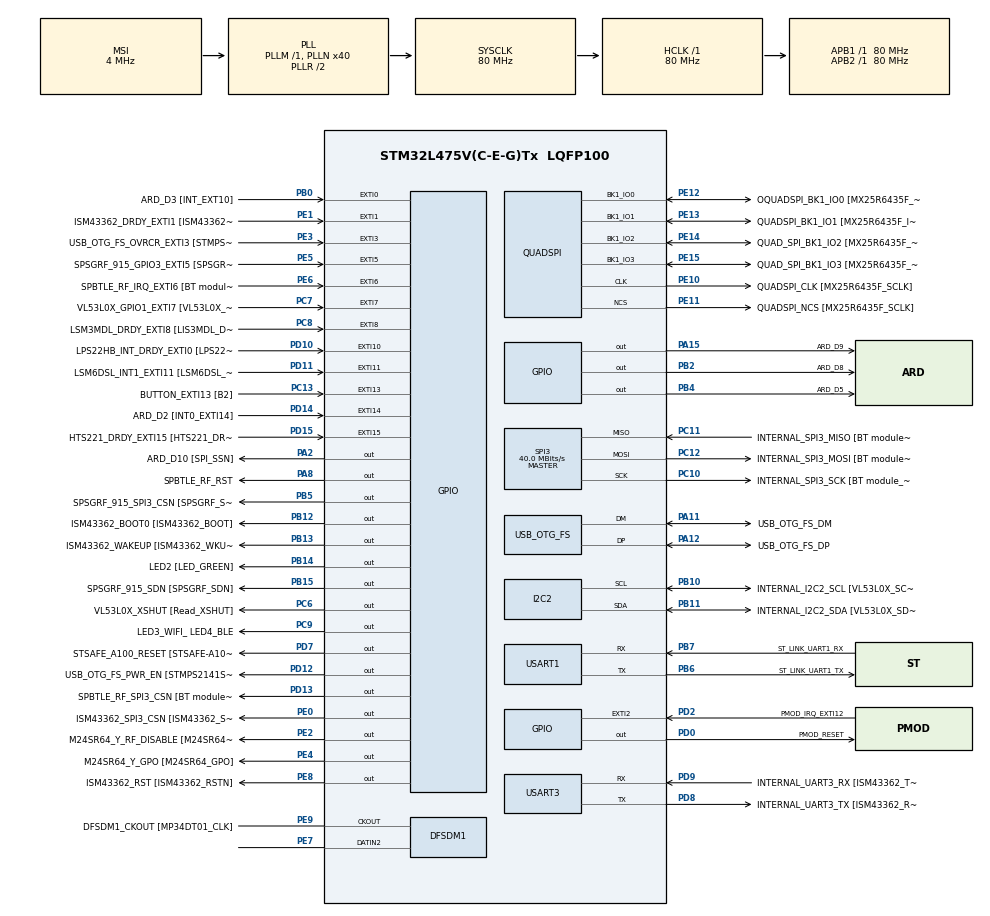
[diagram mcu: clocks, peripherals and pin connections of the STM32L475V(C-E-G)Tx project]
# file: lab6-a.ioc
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DFSDM1.Divider=40
DFSDM1.DmaMode_reg_FIL0=ENABLE
DFSDM1.FastMode_reg_FIL0=ENABLE
DFSDM1.Filter_regChannel_FIL0=DFSDM_CHANNEL_2
DFSDM1.Fosr_FIL0=250
DFSDM1.SincOrder_FIL0=DFSDM_FILTER_SINC3_ORDER
Dma.DFSDM1_FLT0.0.Direction=DMA_PERIPH_TO_MEMORY
Dma.DFSDM1_FLT0.0.Instance=DMA1_Channel4
Dma.DFSDM1_FLT0.0.MemDataAlignment=DMA_MDATAALIGN_WORD
Dma.DFSDM1_FLT0.0.MemInc=DMA_MINC_ENABLE
Dma.DFSDM1_FLT0.0.Mode=DMA_CIRCULAR
Dma.DFSDM1_FLT0.0.PeriphDataAlignment=DMA_PDATAALIGN_WORD
Dma.DFSDM1_FLT0.0.PeriphInc=DMA_PINC_DISABLE
Dma.DFSDM1_FLT0.0.Priority=DMA_PRIORITY_LOW
Dma.Request0=DFSDM1_FLT0
I2C2.Timing=0x10D19CE4
Mcu.Family=STM32L4
Mcu.Name=STM32L475V(C-E-G)Tx
Mcu.Package=LQFP100
NVIC.DMA1_Channel4_IRQn=true\:0\:0\:false\:false\:true\:false\:true\:true
NVIC.EXTI15_10_IRQn=true\:0\:0\:false\:false\:true\:true\:true\:true
NVIC.EXTI9_5_IRQn=true\:0\:0\:false\:false\:true\:true\:true\:true
NVIC.PriorityGroup=NVIC_PRIORITYGROUP_4
PA0.GPIO_Label=ARD_D1 [UART4_TX]
PA0.Signal=UART4_TX
PA1.GPIO_Label=ARD_D0 [UART4_RX]
PA1.Signal=UART4_RX
PA10.GPIO_Label=USB_OTG_FS_ID
PA10.Signal=USB_OTG_FS_ID
PA11.GPIO_Label=USB_OTG_FS_DM
PA11.Mode=Device_Only
PA11.Signal=USB_OTG_FS_DM
PA12.GPIO_Label=USB_OTG_FS_DP
PA12.Mode=Device_Only
PA12.Signal=USB_OTG_FS_DP
PA13\ (JTMS-SWDIO).GPIO_Label=SYS_JTMS_SWDIO
PA13\ (JTMS-SWDIO).Mode=Serial_Wire
PA13\ (JTMS-SWDIO).Signal=SYS_JTMS-SWDIO
PA14\ (JTCK-SWCLK).GPIO_Label=SYS_JTCK_SWCLK
PA14\ (JTCK-SWCLK).Mode=Serial_Wire
PA14\ (JTCK-SWCLK).Signal=SYS_JTCK-SWCLK
PA15\ (JTDI).GPIO_Label=ARD_D9
PA15\ (JTDI).Signal=GPIO_Output
PA2.GPIO_Label=ARD_D10 [SPI_SSN]
PA2.Signal=GPIO_Output
PA3.GPIO_Label=ARD_D4
PA3.Signal=S_TIM2_CH4
PA4.GPIO_Label=ARD_D7
PA4.Signal=ADCx_IN9
PA5.GPIO_Label=ARD_D13 [SPI1_SCK]
PA5.Signal=SPI1_SCK
PA6.GPIO_Label=ARD_D12 [SPI1_MISO]
PA6.Signal=SPI1_MISO
PA7.GPIO_Label=ARD_D11 [SPI1_MOSI]
PA7.Signal=SPI1_MOSI
PA8.GPIO_Label=SPBTLE_RF_RST
PA8.Signal=GPIO_Output
PA9.GPIO_Label=USB_OTG_FS_VBUS [STMPS2141STR_OUT]
PA9.Signal=USB_OTG_FS_VBUS
PB0.GPIO_Label=ARD_D3 [INT_EXT10]
PB0.Signal=GPXTI0
PB1.GPIO_Label=ARD_D6 [ADC1_IN6]
PB1.Signal=ADCx_IN16
PB10.GPIO_Label=INTERNAL_I2C2_SCL [VL53L0X_SCL]
PB10.GPIO_Pu=GPIO_PULLUP
PB10.Mode=I2C
PB10.Signal=I2C2_SCL
PB11.GPIO_Label=INTERNAL_I2C2_SDA [VL53L0X_SDA]
PB11.GPIO_Pu=GPIO_PULLUP
PB11.Mode=I2C
PB11.Signal=I2C2_SDA
PB12.GPIO_Label=ISM43362_BOOT0 [ISM43362_BOOT]
PB12.Signal=GPIO_Output
PB13.GPIO_Label=ISM43362_WAKEUP [ISM43362_WKUP]
PB13.Signal=GPIO_Output
PB14.GPIO_Label=LED2 [LED_GREEN]
PB14.Signal=GPIO_Output
PB15.GPIO_Label=SPSGRF_915_SDN [SPSGRF_SDN]
PB15.Signal=GPIO_Output
PB2.GPIO_Label=ARD_D8
PB2.Signal=GPIO_Output
PB3\ (JTDO-TRACESWO).GPIO_Label=SYS_JTD0_SWO
PB3\ (JTDO-TRACESWO).Signal=SYS_JTDO-SWO
PB4\ (NJTRST).GPIO_Label=ARD_D5
PB4\ (NJTRST).Signal=GPIO_Output
PB5.GPIO_Label=SPSGRF_915_SPI3_CSN [SPSGRF_SPI_CS]
PB5.PinState=GPIO_PIN_SET
PB5.Signal=GPIO_Output
PB6.GPIO_Label=ST_LINK_UART1_TX
PB6.Mode=Asynchronous
PB6.Signal=USART1_TX
PB7.GPIO_Label=ST_LINK_UART1_RX
PB7.Mode=Asynchronous
PB7.Signal=USART1_RX
PB8.GPIO_Label=ARD_D15 [I2C1_SCL]
PB8.Signal=I2C1_SCL
PB9.GPIO_Label=ARD_D14 [I2C1_SDA]
PB9.Signal=I2C1_SDA
PC0.GPIO_Label=ARD_A5 [ADC]
PC0.Signal=ADCx_IN1
PC1.GPIO_Label=ARD_A4 [ADC]
PC1.Signal=ADCx_IN2
PC10.GPIO_Label=INTERNAL_SPI3_SCK [BT module_SPI_SCLK] [ISM43362_SCK]
PC10.Mode=Full_Duplex_Master
PC10.Signal=SPI3_SCK
PC11.GPIO_Label=INTERNAL_SPI3_MISO [BT module_SPI_MISO] [ISM43362_MISO]
PC11.Mode=Full_Duplex_Master
PC11.Signal=SPI3_MISO
PC12.GPIO_Label=INTERNAL_SPI3_MOSI [BT module_SPI_MOSI] [ISM43362_MOSI]
PC12.Mode=Full_Duplex_Master
PC12.Signal=SPI3_MOSI
PC13.GPIO_Label=BUTTON_EXTI13 [B2]
PC13.GPIO_ModeDefaultEXTI=GPIO_MODE_IT_FALLING
PC13.Signal=GPXTI13
PC14-OSC32_IN\ (PC14).Mode=LSE-External-Oscillator
PC14-OSC32_IN\ (PC14).Signal=RCC_OSC32_IN
PC15-OSC32_OUT\ (PC15).Mode=LSE-External-Oscillator
PC15-OSC32_OUT\ (PC15).Signal=RCC_OSC32_OUT
PC2.GPIO_Label=ARD_A3 [ADC]
PC2.Signal=ADCx_IN3
PC3.GPIO_Label=ARD_A2 [ADC]
PC3.Signal=ADCx_IN4
PC4.GPIO_Label=ARD_A1 [ADC]
PC4.Signal=ADCx_IN13
PC5.GPIO_Label=ARD_A0 [ADC]
PC5.Signal=ADCx_IN14
PC6.GPIO_Label=VL53L0X_XSHUT [Read_XSHUT]
PC6.Signal=GPIO_Output
PC7.GPIO_Label=VL53L0X_GPIO1_EXTI7 [VL53L0X_GPIO1]
PC7.Signal=GPXTI7
PC8.GPIO_Label=LSM3MDL_DRDY_EXTI8 [LIS3MDL_DRDY]
PC8.Signal=GPXTI8
PC9.GPIO_Label=LED3_WIFI_ LED4_BLE
PC9.Signal=GPIO_Output
PD0.GPIO_Label=PMOD_RESET
PD0.Signal=GPIO_Output
PD1.GPIO_Label=PMOD_SPI2_SCK
PD1.Signal=SPI2_SCK
PD10.GPIO_Label=LPS22HB_INT_DRDY_EXTI0 [LPS22HB_INT_DRDY] 
PD10.Signal=GPXTI10
PD11.GPIO_Label=LSM6DSL_INT1_EXTI11 [LSM6DSL_INT1]
PD11.Signal=GPXTI11
PD12.GPIO_Label=USB_OTG_FS_PWR_EN [STMPS2141STR_EN]
PD12.Signal=GPIO_Output
PD13.GPIO_Label=SPBTLE_RF_SPI3_CSN [BT module_SPI_CS]
PD13.PinState=GPIO_PIN_SET
PD13.Signal=GPIO_Output
PD14.GPIO_Label=ARD_D2 [INT0_EXTI14]
PD14.Signal=GPXTI14
PD15.GPIO_Label=HTS221_DRDY_EXTI15 [HTS221_DRDY]
PD15.Signal=GPXTI15
PD2.GPIO_Label=PMOD_IRQ_EXTI12
PD2.Signal=GPXTI2
PD3.GPIO_Label=PMOD_UART2_CTS
PD3.Signal=USART2_CTS
PD4.GPIO_Label=PMOD_UART2_RTS
PD4.Signal=USART2_RTS
PD5.GPIO_Label=PMOD_UART2_TX
PD5.Signal=USART2_TX
PD6.GPIO_Label=PMOD_UART2_RX
PD6.Signal=USART2_RX
PD7.GPIO_Label=STSAFE_A100_RESET [STSAFE-A100_RESET]
PD7.Signal=GPIO_Output
PD8.GPIO_Label=INTERNAL_UART3_TX [ISM43362_RX]
PD8.Mode=Asynchronous
PD8.Signal=USART3_TX
PD9.GPIO_Label=INTERNAL_UART3_RX [ISM43362_TX]
PD9.Mode=Asynchronous
PD9.Signal=USART3_RX
PE0.GPIO_Label=ISM43362_SPI3_CSN [ISM43362_SSN]
PE0.PinState=GPIO_PIN_SET
PE0.Signal=GPIO_Output
PE1.GPIO_Label=ISM43362_DRDY_EXTI1 [ISM43362_DATARDY]
PE1.Signal=GPXTI1
PE10.GPIO_Label=QUADSPI_CLK [MX25R6435F_SCLK]
PE10.Mode=Single Bank
PE10.Signal=QUADSPI_CLK
PE11.GPIO_Label=QUADSPI_NCS [MX25R6435F_SCLK]
PE11.Mode=Single Bank
PE11.Signal=QUADSPI_NCS
PE12.GPIO_Label=OQUADSPI_BK1_IO0 [MX25R6435F_IO0]
PE12.Mode=Single Bank
PE12.Signal=QUADSPI_BK1_IO0
PE13.GPIO_Label=QUADSPI_BK1_IO1 [MX25R6435F_IO1]
PE13.Mode=Single Bank
PE13.Signal=QUADSPI_BK1_IO1
PE14.GPIO_Label=QUAD_SPI_BK1_IO2 [MX25R6435F_IO2]
PE14.Mode=Single Bank
PE14.Signal=QUADSPI_BK1_IO2
PE15.GPIO_Label=QUAD_SPI_BK1_IO3 [MX25R6435F_IO3]
PE15.Mode=Single Bank
PE15.Signal=QUADSPI_BK1_IO3
PE2.GPIO_Label=M24SR64_Y_RF_DISABLE [M24SR64_RFDIS]
PE2.Signal=GPIO_Output
PE3.GPIO_Label=USB_OTG_FS_OVRCR_EXTI3 [STMPS2141STR_FAULT]
PE3.Signal=GPXTI3
PE4.GPIO_Label=M24SR64_Y_GPO [M24SR64_GPO]
PE4.Signal=GPIO_Output
PE5.GPIO_Label=SPSGRF_915_GPIO3_EXTI5 [SPSGRF_GPIO_3]
PE5.Signal=GPXTI5
PE6.GPIO_Label=SPBTLE_RF_IRQ_EXTI6 [BT module_SPI_IRQ]
PE6.Signal=GPXTI6
PE7.Signal=S_DATAIN2DFSDM1
PE8.GPIO_Label=ISM43362_RST [ISM43362_RSTN]
PE8.Signal=GPIO_Output
PE9.GPIO_Label=DFSDM1_CKOUT [MP34DT01_CLK]
PE9.Signal=S_CKOUTDFSDM1
ProjectManager.HeapSize=0x200
ProjectManager.StackSize=0x400
ProjectManager.TargetToolchain=STM32CubeIDE
QUADSPI.ClockPrescaler=2
QUADSPI.FifoThreshold=4
QUADSPI.FlashSize=23
QUADSPI.SampleShifting=QSPI_SAMPLE_SHIFTING_HALFCYCLE
RCC.ADCFreq_Value=48000000
RCC.AHBFreq_Value=80000000
RCC.APB1Freq_Value=80000000
RCC.APB1TimFreq_Value=80000000
RCC.APB2Freq_Value=80000000
RCC.APB2TimFreq_Value=80000000
RCC.CortexFreq_Value=80000000
RCC.HCLKFreq_Value=80000000
RCC.HSE_VALUE=8000000
RCC.HSI_VALUE=16000000
RCC.MSI_VALUE=4000000
RCC.PLLN=40
RCC.PLLSAI1N=24
RCC.SYSCLKFreq_VALUE=80000000
RCC.SYSCLKSource=RCC_SYSCLKSOURCE_PLLCLK
RCC.USBFreq_Value=48000000
RCC.VCOOutputFreq_Value=160000000
SH.ADCx_IN1.0=ADC1_IN1
SH.ADCx_IN13.0=ADC1_IN13
SH.ADCx_IN14.0=ADC1_IN14
SH.ADCx_IN16.0=ADC1_IN16
SH.ADCx_IN2.0=ADC1_IN2
SH.ADCx_IN3.0=ADC1_IN3
SH.ADCx_IN4.0=ADC1_IN4
SH.ADCx_IN9.0=ADC1_IN9
SH.S_CKOUTDFSDM1.0=DFSDM1_CKOUT,PDM_SPI_input_from_ch2_and_internal_clock
SH.S_DATAIN2DFSDM1.0=DFSDM1_DATIN2,PDM_SPI_input_from_ch2_and_internal_clock
SH.S_TIM2_CH4.0=TIM2_CH4
SPI3.CalculateBaudRate=40.0 MBits/s
SPI3.Direction=SPI_DIRECTION_2LINES
SPI3.Mode=SPI_MODE_MASTER
SPI3.VirtualType=VM_MASTER
USART1.VirtualMode-Asynchronous=VM_ASYNC
USART3.VirtualMode-Asynchronous=VM_ASYNC
USB_OTG_FS.VirtualMode=Device_Only
board=B-L475E-IOT01A1

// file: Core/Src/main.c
/* USER CODE BEGIN Header */
/**
  ******************************************************************************
  * @file           : main.c
  * @brief          : Main program body
  ******************************************************************************
  * @attention
  *
  * Copyright (c) 2025 STMicroelectronics.
  * All rights reserved.
  *
  * This software is licensed under terms that can be found in the LICENSE file
  * in the root directory of this software component.
  * If no LICENSE file comes with this software, it is provided AS-IS.
  *
  ******************************************************************************
  */
/* USER CODE END Header */
#include "main.h"

/* USER CODE BEGIN Includes */
#include "stdio.h"
/* USER CODE END Includes */

DFSDM_Filter_HandleTypeDef hdfsdm1_filter0;
DFSDM_Channel_HandleTypeDef hdfsdm1_channel2;
DMA_HandleTypeDef hdma_dfsdm1_flt0;

I2C_HandleTypeDef hi2c2;

QSPI_HandleTypeDef hqspi;

SPI_HandleTypeDef hspi3;

UART_HandleTypeDef huart1;
UART_HandleTypeDef huart3;

PCD_HandleTypeDef hpcd_USB_OTG_FS;

/* USER CODE BEGIN PV */
#define AUDIO_REC	1024
int32_t RecBuf[AUDIO_REC];
int32_t PlayBuf[AUDIO_REC];

uint8_t DmaRecHalfBuffCplt = 0;
uint8_t DmaRecBuffCplt = 0;
/* USER CODE END PV */

void SystemClock_Config(void);
static void MX_GPIO_Init(void);
static void MX_DMA_Init(void);
static void MX_DFSDM1_Init(void);
static void MX_I2C2_Init(void);
static void MX_QUADSPI_Init(void);
static void MX_SPI3_Init(void);
static void MX_USART1_UART_Init(void);
static void MX_USART3_UART_Init(void);
static void MX_USB_OTG_FS_PCD_Init(void);
/* USER CODE BEGIN PFP */
int __io_putchar(int ch)
{
	HAL_UART_Transmit(&huart1, (uint8_t *) &ch, 1, 0xffff);
	return ch;
}
/* USER CODE END PFP */

int main(void)
{

  /* USER CODE BEGIN 1 */
	uint16_t i = 0;
  /* USER CODE END 1 */

  /* MCU Configuration--------------------------------------------------------*/

  /* Reset of all peripherals, Initializes the Flash interface and the Systick. */
  HAL_Init();

  /* Configure the system clock */
  SystemClock_Config();

  /* Initialize all configured peripherals */
  MX_GPIO_Init();
  MX_DMA_Init();
  MX_DFSDM1_Init();
  MX_I2C2_Init();
  MX_QUADSPI_Init();
  MX_SPI3_Init();
  MX_USART1_UART_Init();
  MX_USART3_UART_Init();
  MX_USB_OTG_FS_PCD_Init();
  /* USER CODE BEGIN 2 */
  HAL_DFSDM_FilterRegularStart_DMA(&hdfsdm1_filter0, RecBuf, AUDIO_REC);
  /* USER CODE END 2 */

  /* Infinite loop */
  while (1)
  {

    /* USER CODE BEGIN 3 */
	  if (DmaRecHalfBuffCplt == 1)
	  {
		  for (i = 0; i < AUDIO_REC / 2; ++i)
			  PlayBuf[i] = RecBuf[i] >> 8;
		  DmaRecHalfBuffCplt = 0;
		  printf("1: %ld\n", RecBuf[0]);
		  HAL_GPIO_TogglePin(ARD_D13_GPIO_Port, ARD_D13_Pin);
		  HAL_Delay(10);
		  HAL_GPIO_TogglePin(ARD_D13_GPIO_Port, ARD_D13_Pin);
	  }
	  if (DmaRecBuffCplt == 1)
	  {
		  for (i = AUDIO_REC / 2; i < AUDIO_REC; ++i)
			  PlayBuf[i] = RecBuf[i] >> 8;
		  DmaRecBuffCplt = 0;
		  printf("2: %ld\n", RecBuf[AUDIO_REC / 2]);
		  HAL_GPIO_TogglePin(ARD_D7_GPIO_Port, ARD_D7_Pin);
		  HAL_Delay(10);
		  HAL_GPIO_TogglePin(ARD_D7_GPIO_Port, ARD_D7_Pin);
	  }
  }
  /* USER CODE END 3 */
}

void SystemClock_Config(void)
{
  RCC_OscInitTypeDef RCC_OscInitStruct = {0};
  RCC_ClkInitTypeDef RCC_ClkInitStruct = {0};

  /** Configure the main internal regulator output voltage
  */
  if (HAL_PWREx_ControlVoltageScaling(PWR_REGULATOR_VOLTAGE_SCALE1) != HAL_OK)
  {
    Error_Handler();
  }

  /** Configure LSE Drive Capability
  */
  HAL_PWR_EnableBkUpAccess();
  __HAL_RCC_LSEDRIVE_CONFIG(RCC_LSEDRIVE_LOW);

  /** Initializes the RCC Oscillators according to the specified parameters
  * in the RCC_OscInitTypeDef structure.
  */
  RCC_OscInitStruct.OscillatorType = RCC_OSCILLATORTYPE_LSE|RCC_OSCILLATORTYPE_MSI;
  RCC_OscInitStruct.LSEState = RCC_LSE_ON;
  RCC_OscInitStruct.MSIState = RCC_MSI_ON;
  RCC_OscInitStruct.MSICalibrationValue = 0;
  RCC_OscInitStruct.MSIClockRange = RCC_MSIRANGE_6;
  RCC_OscInitStruct.PLL.PLLState = RCC_PLL_ON;
  RCC_OscInitStruct.PLL.PLLSource = RCC_PLLSOURCE_MSI;
  RCC_OscInitStruct.PLL.PLLM = 1;
  RCC_OscInitStruct.PLL.PLLN = 40;
  RCC_OscInitStruct.PLL.PLLP = RCC_PLLP_DIV7;
  RCC_OscInitStruct.PLL.PLLQ = RCC_PLLQ_DIV2;
  RCC_OscInitStruct.PLL.PLLR = RCC_PLLR_DIV2;
  if (HAL_RCC_OscConfig(&RCC_OscInitStruct) != HAL_OK)
  {
    Error_Handler();
  }

  /** Initializes the CPU, AHB and APB buses clocks
  */
  RCC_ClkInitStruct.ClockType = RCC_CLOCKTYPE_HCLK|RCC_CLOCKTYPE_SYSCLK
                              |RCC_CLOCKTYPE_PCLK1|RCC_CLOCKTYPE_PCLK2;
  RCC_ClkInitStruct.SYSCLKSource = RCC_SYSCLKSOURCE_PLLCLK;
  RCC_ClkInitStruct.AHBCLKDivider = RCC_SYSCLK_DIV1;
  RCC_ClkInitStruct.APB1CLKDivider = RCC_HCLK_DIV1;
  RCC_ClkInitStruct.APB2CLKDivider = RCC_HCLK_DIV1;

  if (HAL_RCC_ClockConfig(&RCC_ClkInitStruct, FLASH_LATENCY_4) != HAL_OK)
  {
    Error_Handler();
  }

  /** Enable MSI Auto calibration
  */
  HAL_RCCEx_EnableMSIPLLMode();
}

static void MX_DFSDM1_Init(void)
{

  hdfsdm1_filter0.Instance = DFSDM1_Filter0;
  hdfsdm1_filter0.Init.RegularParam.Trigger = DFSDM_FILTER_SW_TRIGGER;
  hdfsdm1_filter0.Init.RegularParam.FastMode = ENABLE;
  hdfsdm1_filter0.Init.RegularParam.DmaMode = ENABLE;
  hdfsdm1_filter0.Init.FilterParam.SincOrder = DFSDM_FILTER_SINC3_ORDER;
  hdfsdm1_filter0.Init.FilterParam.Oversampling = 250;
  hdfsdm1_filter0.Init.FilterParam.IntOversampling = 1;
  if (HAL_DFSDM_FilterInit(&hdfsdm1_filter0) != HAL_OK)
  {
    Error_Handler();
  }
  hdfsdm1_channel2.Instance = DFSDM1_Channel2;
  hdfsdm1_channel2.Init.OutputClock.Activation = ENABLE;
  hdfsdm1_channel2.Init.OutputClock.Selection = DFSDM_CHANNEL_OUTPUT_CLOCK_SYSTEM;
  hdfsdm1_channel2.Init.OutputClock.Divider = 40;
  hdfsdm1_channel2.Init.Input.Multiplexer = DFSDM_CHANNEL_EXTERNAL_INPUTS;
  hdfsdm1_channel2.Init.Input.DataPacking = DFSDM_CHANNEL_STANDARD_MODE;
  hdfsdm1_channel2.Init.Input.Pins = DFSDM_CHANNEL_SAME_CHANNEL_PINS;
  hdfsdm1_channel2.Init.SerialInterface.Type = DFSDM_CHANNEL_SPI_RISING;
  hdfsdm1_channel2.Init.SerialInterface.SpiClock = DFSDM_CHANNEL_SPI_CLOCK_INTERNAL;
  hdfsdm1_channel2.Init.Awd.FilterOrder = DFSDM_CHANNEL_FASTSINC_ORDER;
  hdfsdm1_channel2.Init.Awd.Oversampling = 1;
  hdfsdm1_channel2.Init.Offset = 0;
  hdfsdm1_channel2.Init.RightBitShift = 0x00;
  if (HAL_DFSDM_ChannelInit(&hdfsdm1_channel2) != HAL_OK)
  {
    Error_Handler();
  }
  if (HAL_DFSDM_FilterConfigRegChannel(&hdfsdm1_filter0, DFSDM_CHANNEL_2, DFSDM_CONTINUOUS_CONV_ON) != HAL_OK)
  {
    Error_Handler();
  }

}

static void MX_I2C2_Init(void)
{

  hi2c2.Instance = I2C2;
  hi2c2.Init.Timing = 0x10D19CE4;
  hi2c2.Init.OwnAddress1 = 0;
  hi2c2.Init.AddressingMode = I2C_ADDRESSINGMODE_7BIT;
  hi2c2.Init.DualAddressMode = I2C_DUALADDRESS_DISABLE;
  hi2c2.Init.OwnAddress2 = 0;
  hi2c2.Init.OwnAddress2Masks = I2C_OA2_NOMASK;
  hi2c2.Init.GeneralCallMode = I2C_GENERALCALL_DISABLE;
  hi2c2.Init.NoStretchMode = I2C_NOSTRETCH_DISABLE;
  if (HAL_I2C_Init(&hi2c2) != HAL_OK)
  {
    Error_Handler();
  }

  /** Configure Analogue filter
  */
  if (HAL_I2CEx_ConfigAnalogFilter(&hi2c2, I2C_ANALOGFILTER_ENABLE) != HAL_OK)
  {
    Error_Handler();
  }

  /** Configure Digital filter
  */
  if (HAL_I2CEx_ConfigDigitalFilter(&hi2c2, 0) != HAL_OK)
  {
    Error_Handler();
  }

}

static void MX_QUADSPI_Init(void)
{

  /* QUADSPI parameter configuration*/
  hqspi.Instance = QUADSPI;
  hqspi.Init.ClockPrescaler = 2;
  hqspi.Init.FifoThreshold = 4;
  hqspi.Init.SampleShifting = QSPI_SAMPLE_SHIFTING_HALFCYCLE;
  hqspi.Init.FlashSize = 23;
  hqspi.Init.ChipSelectHighTime = QSPI_CS_HIGH_TIME_1_CYCLE;
  hqspi.Init.ClockMode = QSPI_CLOCK_MODE_0;
  if (HAL_QSPI_Init(&hqspi) != HAL_OK)
  {
    Error_Handler();
  }

}

static void MX_SPI3_Init(void)
{

  /* SPI3 parameter configuration*/
  hspi3.Instance = SPI3;
  hspi3.Init.Mode = SPI_MODE_MASTER;
  hspi3.Init.Direction = SPI_DIRECTION_2LINES;
  hspi3.Init.DataSize = SPI_DATASIZE_4BIT;
  hspi3.Init.CLKPolarity = SPI_POLARITY_LOW;
  hspi3.Init.CLKPhase = SPI_PHASE_1EDGE;
  hspi3.Init.NSS = SPI_NSS_SOFT;
  hspi3.Init.BaudRatePrescaler = SPI_BAUDRATEPRESCALER_2;
  hspi3.Init.FirstBit = SPI_FIRSTBIT_MSB;
  hspi3.Init.TIMode = SPI_TIMODE_DISABLE;
  hspi3.Init.CRCCalculation = SPI_CRCCALCULATION_DISABLE;
  hspi3.Init.CRCPolynomial = 7;
  hspi3.Init.CRCLength = SPI_CRC_LENGTH_DATASIZE;
  hspi3.Init.NSSPMode = SPI_NSS_PULSE_ENABLE;
  if (HAL_SPI_Init(&hspi3) != HAL_OK)
  {
    Error_Handler();
  }

}

static void MX_USART1_UART_Init(void)
{

  huart1.Instance = USART1;
  huart1.Init.BaudRate = 115200;
  huart1.Init.WordLength = UART_WORDLENGTH_8B;
  huart1.Init.StopBits = UART_STOPBITS_1;
  huart1.Init.Parity = UART_PARITY_NONE;
  huart1.Init.Mode = UART_MODE_TX_RX;
  huart1.Init.HwFlowCtl = UART_HWCONTROL_NONE;
  huart1.Init.OverSampling = UART_OVERSAMPLING_16;
  huart1.Init.OneBitSampling = UART_ONE_BIT_SAMPLE_DISABLE;
  huart1.AdvancedInit.AdvFeatureInit = UART_ADVFEATURE_NO_INIT;
  if (HAL_UART_Init(&huart1) != HAL_OK)
  {
    Error_Handler();
  }

}

static void MX_USART3_UART_Init(void)
{

  huart3.Instance = USART3;
  huart3.Init.BaudRate = 115200;
  huart3.Init.WordLength = UART_WORDLENGTH_8B;
  huart3.Init.StopBits = UART_STOPBITS_1;
  huart3.Init.Parity = UART_PARITY_NONE;
  huart3.Init.Mode = UART_MODE_TX_RX;
  huart3.Init.HwFlowCtl = UART_HWCONTROL_NONE;
  huart3.Init.OverSampling = UART_OVERSAMPLING_16;
  huart3.Init.OneBitSampling = UART_ONE_BIT_SAMPLE_DISABLE;
  huart3.AdvancedInit.AdvFeatureInit = UART_ADVFEATURE_NO_INIT;
  if (HAL_UART_Init(&huart3) != HAL_OK)
  {
    Error_Handler();
  }

}

static void MX_USB_OTG_FS_PCD_Init(void)
{

  hpcd_USB_OTG_FS.Instance = USB_OTG_FS;
  hpcd_USB_OTG_FS.Init.dev_endpoints = 6;
  hpcd_USB_OTG_FS.Init.speed = PCD_SPEED_FULL;
  hpcd_USB_OTG_FS.Init.phy_itface = PCD_PHY_EMBEDDED;
  hpcd_USB_OTG_FS.Init.Sof_enable = DISABLE;
  hpcd_USB_OTG_FS.Init.low_power_enable = DISABLE;
  hpcd_USB_OTG_FS.Init.lpm_enable = DISABLE;
  hpcd_USB_OTG_FS.Init.battery_charging_enable = DISABLE;
  hpcd_USB_OTG_FS.Init.use_dedicated_ep1 = DISABLE;
  hpcd_USB_OTG_FS.Init.vbus_sensing_enable = DISABLE;
  if (HAL_PCD_Init(&hpcd_USB_OTG_FS) != HAL_OK)
  {
    Error_Handler();
  }

}

static void MX_DMA_Init(void)
{

  /* DMA controller clock enable */
  __HAL_RCC_DMA1_CLK_ENABLE();

  /* DMA interrupt init */
  /* DMA1_Channel4_IRQn interrupt configuration */
  HAL_NVIC_SetPriority(DMA1_Channel4_IRQn, 0, 0);
  HAL_NVIC_EnableIRQ(DMA1_Channel4_IRQn);

}

static void MX_GPIO_Init(void)
{
  GPIO_InitTypeDef GPIO_InitStruct = {0};

  /* GPIO Ports Clock Enable */
  __HAL_RCC_GPIOE_CLK_ENABLE();
  __HAL_RCC_GPIOC_CLK_ENABLE();
  __HAL_RCC_GPIOA_CLK_ENABLE();
  __HAL_RCC_GPIOB_CLK_ENABLE();
  __HAL_RCC_GPIOD_CLK_ENABLE();

  /*Configure GPIO pin Output Level */
  HAL_GPIO_WritePin(GPIOE, M24SR64_Y_RF_DISABLE_Pin|M24SR64_Y_GPO_Pin|ISM43362_RST_Pin, GPIO_PIN_RESET);

  /*Configure GPIO pin Output Level */
  HAL_GPIO_WritePin(GPIOA, ARD_D10_Pin|SPBTLE_RF_RST_Pin|ARD_D9_Pin, GPIO_PIN_RESET);

  /*Configure GPIO pin Output Level */
  HAL_GPIO_WritePin(GPIOB, ARD_D8_Pin|ISM43362_BOOT0_Pin|ISM43362_WAKEUP_Pin|LED2_Pin
                          |SPSGRF_915_SDN_Pin|ARD_D5_Pin, GPIO_PIN_RESET);

  /*Configure GPIO pin Output Level */
  HAL_GPIO_WritePin(GPIOD, USB_OTG_FS_PWR_EN_Pin|PMOD_RESET_Pin|STSAFE_A100_RESET_Pin, GPIO_PIN_RESET);

  /*Configure GPIO pin Output Level */
  HAL_GPIO_WritePin(SPBTLE_RF_SPI3_CSN_GPIO_Port, SPBTLE_RF_SPI3_CSN_Pin, GPIO_PIN_SET);

  /*Configure GPIO pin Output Level */
  HAL_GPIO_WritePin(GPIOC, VL53L0X_XSHUT_Pin|LED3_WIFI__LED4_BLE_Pin, GPIO_PIN_RESET);

  /*Configure GPIO pin Output Level */
  HAL_GPIO_WritePin(SPSGRF_915_SPI3_CSN_GPIO_Port, SPSGRF_915_SPI3_CSN_Pin, GPIO_PIN_SET);

  /*Configure GPIO pin Output Level */
  HAL_GPIO_WritePin(ISM43362_SPI3_CSN_GPIO_Port, ISM43362_SPI3_CSN_Pin, GPIO_PIN_SET);

  /*Configure GPIO pins : M24SR64_Y_RF_DISABLE_Pin M24SR64_Y_GPO_Pin ISM43362_RST_Pin ISM43362_SPI3_CSN_Pin */
  GPIO_InitStruct.Pin = M24SR64_Y_RF_DISABLE_Pin|M24SR64_Y_GPO_Pin|ISM43362_RST_Pin|ISM43362_SPI3_CSN_Pin;
  GPIO_InitStruct.Mode = GPIO_MODE_OUTPUT_PP;
  GPIO_InitStruct.Pull = GPIO_NOPULL;
  GPIO_InitStruct.Speed = GPIO_SPEED_FREQ_LOW;
  HAL_GPIO_Init(GPIOE, &GPIO_InitStruct);

  /*Configure GPIO pins : USB_OTG_FS_OVRCR_EXTI3_Pin SPSGRF_915_GPIO3_EXTI5_Pin SPBTLE_RF_IRQ_EXTI6_Pin ISM43362_DRDY_EXTI1_Pin */
  GPIO_InitStruct.Pin = USB_OTG_FS_OVRCR_EXTI3_Pin|SPSGRF_915_GPIO3_EXTI5_Pin|SPBTLE_RF_IRQ_EXTI6_Pin|ISM43362_DRDY_EXTI1_Pin;
  GPIO_InitStruct.Mode = GPIO_MODE_IT_RISING;
  GPIO_InitStruct.Pull = GPIO_NOPULL;
  HAL_GPIO_Init(GPIOE, &GPIO_InitStruct);

  /*Configure GPIO pin : BUTTON_EXTI13_Pin */
  GPIO_InitStruct.Pin = BUTTON_EXTI13_Pin;
  GPIO_InitStruct.Mode = GPIO_MODE_IT_FALLING;
  GPIO_InitStruct.Pull = GPIO_NOPULL;
  HAL_GPIO_Init(BUTTON_EXTI13_GPIO_Port, &GPIO_InitStruct);

  /*Configure GPIO pins : ARD_A5_Pin ARD_A4_Pin ARD_A3_Pin ARD_A2_Pin
                           ARD_A1_Pin ARD_A0_Pin */
  GPIO_InitStruct.Pin = ARD_A5_Pin|ARD_A4_Pin|ARD_A3_Pin|ARD_A2_Pin
                          |ARD_A1_Pin|ARD_A0_Pin;
  GPIO_InitStruct.Mode = GPIO_MODE_ANALOG_ADC_CONTROL;
  GPIO_InitStruct.Pull = GPIO_NOPULL;
  HAL_GPIO_Init(GPIOC, &GPIO_InitStruct);

  /*Configure GPIO pins : ARD_D1_Pin ARD_D0_Pin */
  GPIO_InitStruct.Pin = ARD_D1_Pin|ARD_D0_Pin;
  GPIO_InitStruct.Mode = GPIO_MODE_AF_PP;
  GPIO_InitStruct.Pull = GPIO_NOPULL;
  GPIO_InitStruct.Speed = GPIO_SPEED_FREQ_VERY_HIGH;
  GPIO_InitStruct.Alternate = GPIO_AF8_UART4;
  HAL_GPIO_Init(GPIOA, &GPIO_InitStruct);

  /*Configure GPIO pins : ARD_D10_Pin SPBTLE_RF_RST_Pin ARD_D9_Pin */
  GPIO_InitStruct.Pin = ARD_D10_Pin|SPBTLE_RF_RST_Pin|ARD_D9_Pin;
  GPIO_InitStruct.Mode = GPIO_MODE_OUTPUT_PP;
  GPIO_InitStruct.Pull = GPIO_NOPULL;
  GPIO_InitStruct.Speed = GPIO_SPEED_FREQ_LOW;
  HAL_GPIO_Init(GPIOA, &GPIO_InitStruct);

  /*Configure GPIO pin : ARD_D4_Pin */
  GPIO_InitStruct.Pin = ARD_D4_Pin;
  GPIO_InitStruct.Mode = GPIO_MODE_AF_PP;
  GPIO_InitStruct.Pull = GPIO_NOPULL;
  GPIO_InitStruct.Speed = GPIO_SPEED_FREQ_LOW;
  GPIO_InitStruct.Alternate = GPIO_AF1_TIM2;
  HAL_GPIO_Init(ARD_D4_GPIO_Port, &GPIO_InitStruct);

  /*Configure GPIO pin : ARD_D7_Pin */
  GPIO_InitStruct.Pin = ARD_D7_Pin;
  GPIO_InitStruct.Mode = GPIO_MODE_OUTPUT_PP;
  GPIO_InitStruct.Pull = GPIO_NOPULL;
  GPIO_InitStruct.Speed = GPIO_SPEED_FREQ_LOW;
  HAL_GPIO_Init(ARD_D7_GPIO_Port, &GPIO_InitStruct);

  /*Configure GPIO pins : ARD_D12_Pin ARD_D11_Pin */
  GPIO_InitStruct.Pin = ARD_D12_Pin|ARD_D11_Pin;
  GPIO_InitStruct.Mode = GPIO_MODE_AF_PP;
  GPIO_InitStruct.Pull = GPIO_NOPULL;
  GPIO_InitStruct.Speed = GPIO_SPEED_FREQ_VERY_HIGH;
  GPIO_InitStruct.Alternate = GPIO_AF5_SPI1;
  HAL_GPIO_Init(GPIOA, &GPIO_InitStruct);

  /*Configure GPIO pin : ARD_D13_Pin */
  GPIO_InitStruct.Pin = ARD_D13_Pin;
  GPIO_InitStruct.Mode = GPIO_MODE_OUTPUT_PP;
  GPIO_InitStruct.Pull = GPIO_NOPULL;
  GPIO_InitStruct.Speed = GPIO_SPEED_FREQ_LOW;
  HAL_GPIO_Init(ARD_D13_GPIO_Port, &GPIO_InitStruct);

  /*Configure GPIO pin : ARD_D3_Pin */
  GPIO_InitStruct.Pin = ARD_D3_Pin;
  GPIO_InitStruct.Mode = GPIO_MODE_IT_RISING;
  GPIO_InitStruct.Pull = GPIO_NOPULL;
  HAL_GPIO_Init(ARD_D3_GPIO_Port, &GPIO_InitStruct);

  /*Configure GPIO pin : ARD_D6_Pin */
  GPIO_InitStruct.Pin = ARD_D6_Pin;
  GPIO_InitStruct.Mode = GPIO_MODE_ANALOG_ADC_CONTROL;
  GPIO_InitStruct.Pull = GPIO_NOPULL;
  HAL_GPIO_Init(ARD_D6_GPIO_Port, &GPIO_InitStruct);

  /*Configure GPIO pins : ARD_D8_Pin ISM43362_BOOT0_Pin ISM43362_WAKEUP_Pin LED2_Pin
                           SPSGRF_915_SDN_Pin ARD_D5_Pin SPSGRF_915_SPI3_CSN_Pin */
  GPIO_InitStruct.Pin = ARD_D8_Pin|ISM43362_BOOT0_Pin|ISM43362_WAKEUP_Pin|LED2_Pin
                          |SPSGRF_915_SDN_Pin|ARD_D5_Pin|SPSGRF_915_SPI3_CSN_Pin;
  GPIO_InitStruct.Mode = GPIO_MODE_OUTPUT_PP;
  GPIO_InitStruct.Pull = GPIO_NOPULL;
  GPIO_InitStruct.Speed = GPIO_SPEED_FREQ_LOW;
  HAL_GPIO_Init(GPIOB, &GPIO_InitStruct);

  /*Configure GPIO pins : LPS22HB_INT_DRDY_EXTI0_Pin LSM6DSL_INT1_EXTI11_Pin ARD_D2_Pin HTS221_DRDY_EXTI15_Pin
                           PMOD_IRQ_EXTI12_Pin */
  GPIO_InitStruct.Pin = LPS22HB_INT_DRDY_EXTI0_Pin|LSM6DSL_INT1_EXTI11_Pin|ARD_D2_Pin|HTS221_DRDY_EXTI15_Pin
                          |PMOD_IRQ_EXTI12_Pin;
  GPIO_InitStruct.Mode = GPIO_MODE_IT_RISING;
  GPIO_InitStruct.Pull = GPIO_NOPULL;
  HAL_GPIO_Init(GPIOD, &GPIO_InitStruct);

  /*Configure GPIO pins : USB_OTG_FS_PWR_EN_Pin SPBTLE_RF_SPI3_CSN_Pin PMOD_RESET_Pin STSAFE_A100_RESET_Pin */
  GPIO_InitStruct.Pin = USB_OTG_FS_PWR_EN_Pin|SPBTLE_RF_SPI3_CSN_Pin|PMOD_RESET_Pin|STSAFE_A100_RESET_Pin;
  GPIO_InitStruct.Mode = GPIO_MODE_OUTPUT_PP;
  GPIO_InitStruct.Pull = GPIO_NOPULL;
  GPIO_InitStruct.Speed = GPIO_SPEED_FREQ_LOW;
  HAL_GPIO_Init(GPIOD, &GPIO_InitStruct);

  /*Configure GPIO pins : VL53L0X_XSHUT_Pin LED3_WIFI__LED4_BLE_Pin */
  GPIO_InitStruct.Pin = VL53L0X_XSHUT_Pin|LED3_WIFI__LED4_BLE_Pin;
  GPIO_InitStruct.Mode = GPIO_MODE_OUTPUT_PP;
  GPIO_InitStruct.Pull = GPIO_NOPULL;
  GPIO_InitStruct.Speed = GPIO_SPEED_FREQ_LOW;
  HAL_GPIO_Init(GPIOC, &GPIO_InitStruct);

  /*Configure GPIO pins : VL53L0X_GPIO1_EXTI7_Pin LSM3MDL_DRDY_EXTI8_Pin */
  GPIO_InitStruct.Pin = VL53L0X_GPIO1_EXTI7_Pin|LSM3MDL_DRDY_EXTI8_Pin;
  GPIO_InitStruct.Mode = GPIO_MODE_IT_RISING;
  GPIO_InitStruct.Pull = GPIO_NOPULL;
  HAL_GPIO_Init(GPIOC, &GPIO_InitStruct);

  /*Configure GPIO pin : PMOD_SPI2_SCK_Pin */
  GPIO_InitStruct.Pin = PMOD_SPI2_SCK_Pin;
  GPIO_InitStruct.Mode = GPIO_MODE_AF_PP;
  GPIO_InitStruct.Pull = GPIO_NOPULL;
  GPIO_InitStruct.Speed = GPIO_SPEED_FREQ_VERY_HIGH;
  GPIO_InitStruct.Alternate = GPIO_AF5_SPI2;
  HAL_GPIO_Init(PMOD_SPI2_SCK_GPIO_Port, &GPIO_InitStruct);

  /*Configure GPIO pins : PMOD_UART2_CTS_Pin PMOD_UART2_RTS_Pin PMOD_UART2_TX_Pin PMOD_UART2_RX_Pin */
  GPIO_InitStruct.Pin = PMOD_UART2_CTS_Pin|PMOD_UART2_RTS_Pin|PMOD_UART2_TX_Pin|PMOD_UART2_RX_Pin;
  GPIO_InitStruct.Mode = GPIO_MODE_AF_PP;
  GPIO_InitStruct.Pull = GPIO_NOPULL;
  GPIO_InitStruct.Speed = GPIO_SPEED_FREQ_VERY_HIGH;
  GPIO_InitStruct.Alternate = GPIO_AF7_USART2;
  HAL_GPIO_Init(GPIOD, &GPIO_InitStruct);

  /*Configure GPIO pins : ARD_D15_Pin ARD_D14_Pin */
  GPIO_InitStruct.Pin = ARD_D15_Pin|ARD_D14_Pin;
  GPIO_InitStruct.Mode = GPIO_MODE_AF_OD;
  GPIO_InitStruct.Pull = GPIO_NOPULL;
  GPIO_InitStruct.Speed = GPIO_SPEED_FREQ_VERY_HIGH;
  GPIO_InitStruct.Alternate = GPIO_AF4_I2C1;
  HAL_GPIO_Init(GPIOB, &GPIO_InitStruct);

  /* EXTI interrupt init*/
  HAL_NVIC_SetPriority(EXTI9_5_IRQn, 0, 0);
  HAL_NVIC_EnableIRQ(EXTI9_5_IRQn);

  HAL_NVIC_SetPriority(EXTI15_10_IRQn, 0, 0);
  HAL_NVIC_EnableIRQ(EXTI15_10_IRQn);

}

/* USER CODE BEGIN 4 */
void HAL_DFSDM_FilterRegConvHalfCpltCallback(DFSDM_Filter_HandleTypeDef *hdfsdm_filter)
{
	DmaRecHalfBuffCplt = 1;
}

void HAL_DFSDM_FilterRegConvCpltCallback(DFSDM_Filter_HandleTypeDef *hdfsdm_filter)
{
	DmaRecBuffCplt = 1;
}
/* USER CODE END 4 */

void Error_Handler(void)
{
  __disable_irq();
  while (1)
  {
  }
}
